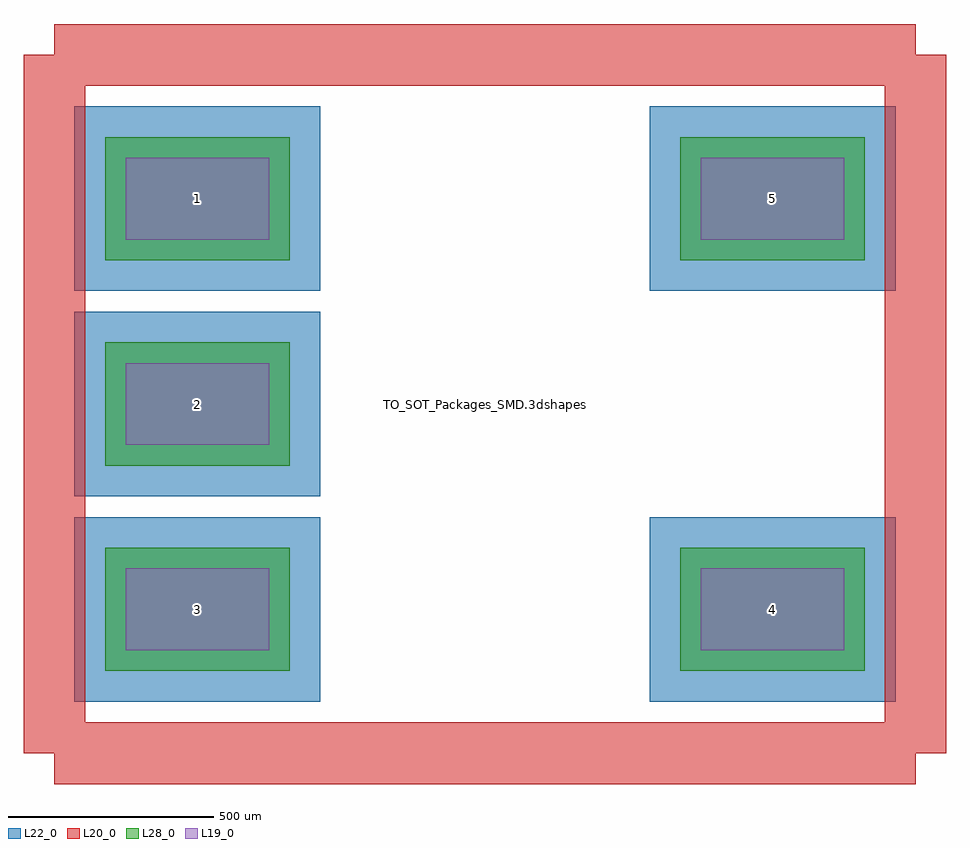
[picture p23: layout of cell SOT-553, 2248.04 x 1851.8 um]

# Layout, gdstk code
import gdstk
lib = gdstk.Library(unit=1e-6, precision=1e-09)
def R(c, l, rs):  # rectangles x0, y0, x1, y1
    for r in rs: c.add(gdstk.rectangle(r[:2], r[2:], *l))
def A(c, l, x, y, w, h, nx, ny, dx, dy):  # array of equal rectangles
    R(c, l, [(x+i*dx, y+j*dy, x+i*dx+w, y+j*dy+h) for i in range(nx) for j in range(ny)])
L19_0 = (19, 0)
L20_0 = (20, 0)
L22_0 = (22, 0)
L28_0 = (28, 0)

sot_553 = lib.new_cell('SOT-553')
A(sot_553, L19_0, -875.83, -600.24, 349.58, 199.72, 1, 3, 0, 500.38)
R(sot_553, L19_0, [(526.25,-600.24,875.83,-400.52), (526.25,400.52,875.83,600.24)])
A(sot_553, L22_0, -1000.83, -725.24, 599.58, 449.72, 1, 3, 0, 500.38)
R(sot_553, L22_0, [(401.25,-725.24,1000.83,-275.52), (401.25,275.52,1000.83,725.24)])
A(sot_553, L28_0, -925.83, -650.24, 449.58, 299.72, 1, 3, 0, 500.38)
R(sot_553, L28_0, [(476.25,-650.24,925.83,-350.52), (476.25,350.52,925.83,650.24)])
sot_553.add(gdstk.FlexPath([(-1049.02,-850.9),(-1049.02,850.9)], 149.998, ends="flush", simple_path=True, layer=20, datatype=0))  # L20_0
sot_553.add(gdstk.FlexPath([(1049.02,-850.9),(-1049.02,-850.9)], 149.998, ends="flush", simple_path=True, layer=20, datatype=0))  # L20_0
sot_553.add(gdstk.FlexPath([(1049.02,850.9),(1049.02,-850.9)], 149.998, ends="flush", simple_path=True, layer=20, datatype=0))  # L20_0
sot_553.add(gdstk.FlexPath([(-1049.02,850.9),(1049.02,850.9)], 149.998, ends="flush", simple_path=True, layer=20, datatype=0))  # L20_0
sot_553.add(gdstk.Label('TO_SOT_Packages_SMD.3dshapes/SOT-553.wrl', (0,0), layer=12, texttype=0))
sot_553.add(gdstk.Label('4', (701.04,-500.38), layer=28, texttype=0))
sot_553.add(gdstk.Label('2', (-701.04,0), layer=28, texttype=0))
sot_553.add(gdstk.Label('5', (701.04,500.38), layer=28, texttype=0))
sot_553.add(gdstk.Label('3', (-701.04,-500.38), layer=28, texttype=0))
sot_553.add(gdstk.Label('1', (-701.04,500.38), layer=28, texttype=0))
sot_553.add(gdstk.Label('type', (0,-1348.74), layer=9, texttype=0))
sot_553.add(gdstk.Label('devicename', (0,1198.88), layer=9, texttype=0))

lib.write_gds('SOT-553.gds')
